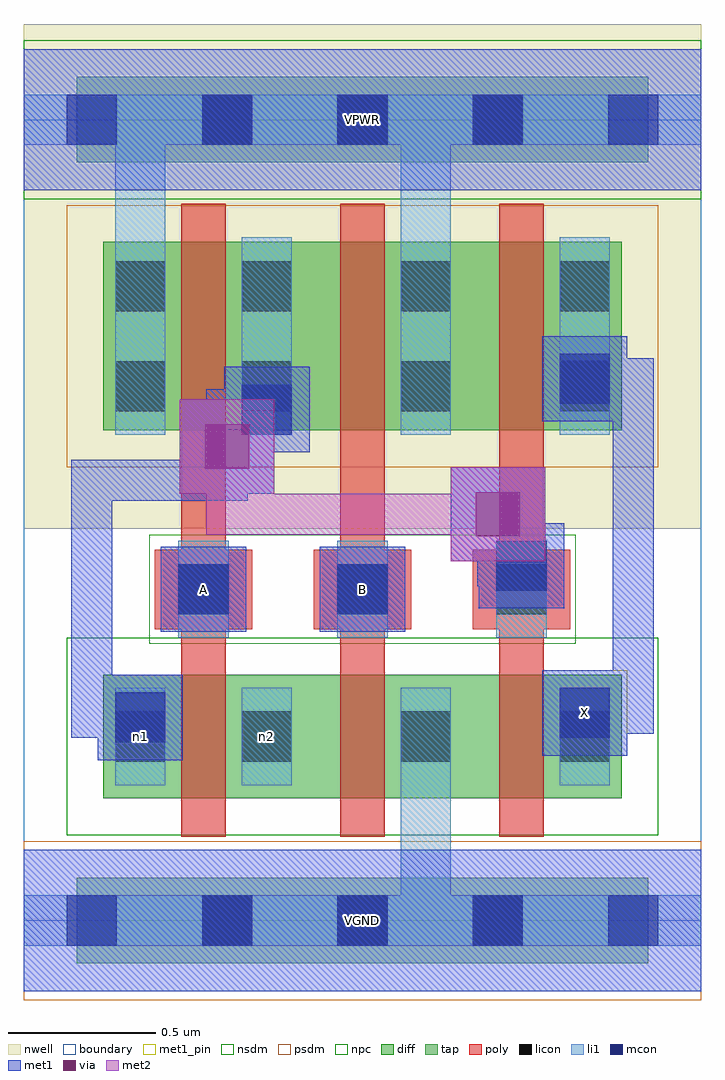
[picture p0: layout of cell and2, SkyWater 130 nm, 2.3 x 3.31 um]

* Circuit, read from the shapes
.subckt and2 A B VGND VPWR X n1 n2
XM1 n2 A n1 VGND sky130_fd_pr__nfet_01v8 w=0.42 l=0.15
XM2 VGND B n2 VGND sky130_fd_pr__nfet_01v8 w=0.42 l=0.15
XM3 X n1 VGND VGND sky130_fd_pr__nfet_01v8 w=0.42 l=0.15
XM4 n1 A VPWR VPWR sky130_fd_pr__pfet_01v8 w=0.64 l=0.15
XM5 VPWR B n1 VPWR sky130_fd_pr__pfet_01v8 w=0.64 l=0.15
XM6 X n1 VPWR VPWR sky130_fd_pr__pfet_01v8 w=0.64 l=0.15
.ends

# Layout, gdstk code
import gdstk
lib = gdstk.Library(unit=1e-6, precision=1e-09)
def R(c, l, rs):  # rectangles x0, y0, x1, y1
    for r in rs: c.add(gdstk.rectangle(r[:2], r[2:], *l))
def A(c, l, x, y, w, h, nx, ny, dx, dy):  # array of equal rectangles
    R(c, l, [(x+i*dx, y+j*dy, x+i*dx+w, y+j*dy+h) for i in range(nx) for j in range(ny)])
nwell = (64, 20)
diff = (65, 20)
tap = (65, 44)
poly = (66, 20)
licon = (66, 44)
li1 = (67, 20)
mcon = (67, 44)
met1_pin = (68, 16)
met1 = (68, 20)
via = (68, 44)
met2 = (69, 20)
nsdm = (93, 44)
psdm = (94, 20)
npc = (95, 20)
boundary = (235, 4)

and2 = lib.new_cell('and2')
R(and2, nwell, [(0,1.33,2.3,3.045)])
R(and2, diff, [(0.27,0.415,2.03,0.835), (0.27,1.665,2.03,2.305)])
R(and2, tap, [(0.18,-0.145,2.12,0.145), (0.18,2.575,2.12,2.865)])
A(and2, poly, 0.535, 0.285, 0.15, 2.15, 3, 1, 0.54, 0)
A(and2, poly, 0.445, 0.99, 0.33, 0.27, 3, 1, 0.54, 0)
A(and2, licon, 0.605, -0.085, 0.17, 0.17, 3, 2, 0.46, 2.72)
A(and2, licon, 0.74, 0.54, 0.17, 0.17, 3, 2, 0.54, 1.19)
A(and2, licon, 0.525, 1.04, 0.17, 0.17, 3, 1, 0.54, 0)
A(and2, licon, 0.74, 2.07, 0.17, 0.17, 3, 1, 0.54, 0)
R(and2, licon, [(0.31,0.54,0.48,0.71), (0.31,1.73,0.48,1.9), (0.31,2.07,0.48,2.24)])
A(and2, li1, 0.74, 0.46, 0.17, 0.33, 3, 1, 0.54, 0)
A(and2, li1, 0.525, 0.96, 0.17, 0.33, 3, 1, 0.54, 0)
A(and2, li1, 0.74, 1.65, 0.17, 0.67, 3, 1, 0.54, 0)
R(and2, li1, [(0,-0.085,2.3,0.085), (1.28,-0.085,1.45,0.79), (0.31,0.46,0.48,0.79), (0.31,1.65,0.48,2.32), (0.31,1.65,0.48,2.805), (1.28,1.65,1.45,2.805), (0,2.635,2.3,2.805)])
A(and2, mcon, 0.145, -0.085, 0.17, 0.17, 5, 2, 0.46, 2.72)
R(and2, mcon, [(0.31,0.605,0.48,0.775), (1.82,0.62,1.99,0.79), (0.525,1.04,0.695,1.21), (1.065,1.04,1.235,1.21), (1.605,1.12,1.775,1.29), (0.74,1.65,0.91,1.82), (1.82,1.755,1.99,1.925)])
R(and2, met1_pin, [(0,-0.24,2.3,0.24), (1.76,0.56,2.05,0.85), (0.465,0.98,0.755,1.27), (1.005,0.98,1.295,1.27), (0,2.48,2.3,2.96)])
R(and2, met1, [(0,-0.24,2.3,0.24), (0.25,0.545,0.54,0.835), (1.76,0.56,2.05,0.85), (0.16,0.62,0.465,0.76), (0.16,0.62,0.3,1.565), (1.835,0.635,2.14,0.775), (2,0.635,2.14,0.875), (2,0.735,2.14,1.91), (0.465,0.98,0.755,1.27), (1.005,0.98,1.295,1.27), (1.545,1.06,1.835,1.35), (1.54,1.135,1.76,1.275), (1.54,1.135,1.68,1.45), (1.45,1.22,1.77,1.54), (0.16,1.425,0.76,1.565), (0.62,1.425,0.76,1.68), (0.53,1.45,0.85,1.77), (0.62,1.54,0.76,1.805), (0.68,1.59,0.97,1.88), (0.62,1.665,0.895,1.805), (1.76,1.695,2.05,1.985), (1.835,1.77,2.14,1.91), (0,2.48,2.3,2.96)])
R(and2, via, [(1.535,1.305,1.685,1.455), (0.615,1.535,0.765,1.685)])
R(and2, met2, [(1.45,1.22,1.77,1.54), (0.62,1.31,0.76,1.68), (0.62,1.31,1.68,1.45), (0.53,1.45,0.85,1.77)])
R(and2, nsdm, [(0.145,0.29,2.155,0.96), (0,2.45,2.3,2.99)])
R(and2, psdm, [(0,-0.27,2.3,0.27), (0.145,1.54,2.155,2.43)])
R(and2, npc, [(0.425,0.94,1.875,1.31)])
R(and2, boundary, [(0,0,2.3,2.72)])
and2.add(gdstk.Label('n1', (0.395,0.625), layer=67, texttype=5))
and2.add(gdstk.Label('n2', (0.825,0.625), layer=67, texttype=5))
and2.add(gdstk.Label('A', (0.61,1.125), layer=68, texttype=5))
and2.add(gdstk.Label('B', (1.15,1.125), layer=68, texttype=5))
and2.add(gdstk.Label('X', (1.905,0.705), layer=68, texttype=5))
and2.add(gdstk.Label('VPWR', (1.15,2.72), layer=68, texttype=5))
and2.add(gdstk.Label('VGND', (1.15,0), layer=68, texttype=5))
and2.add(gdstk.Label('A', (0.61,1.125), layer=68, texttype=16))
and2.add(gdstk.Label('B', (1.15,1.125), layer=68, texttype=16))
and2.add(gdstk.Label('X', (1.905,0.705), layer=68, texttype=16))
and2.add(gdstk.Label('VPWR', (1.15,2.72), layer=68, texttype=16))
and2.add(gdstk.Label('VGND', (1.15,0), layer=68, texttype=16))

lib.write_gds('and2.gds')
